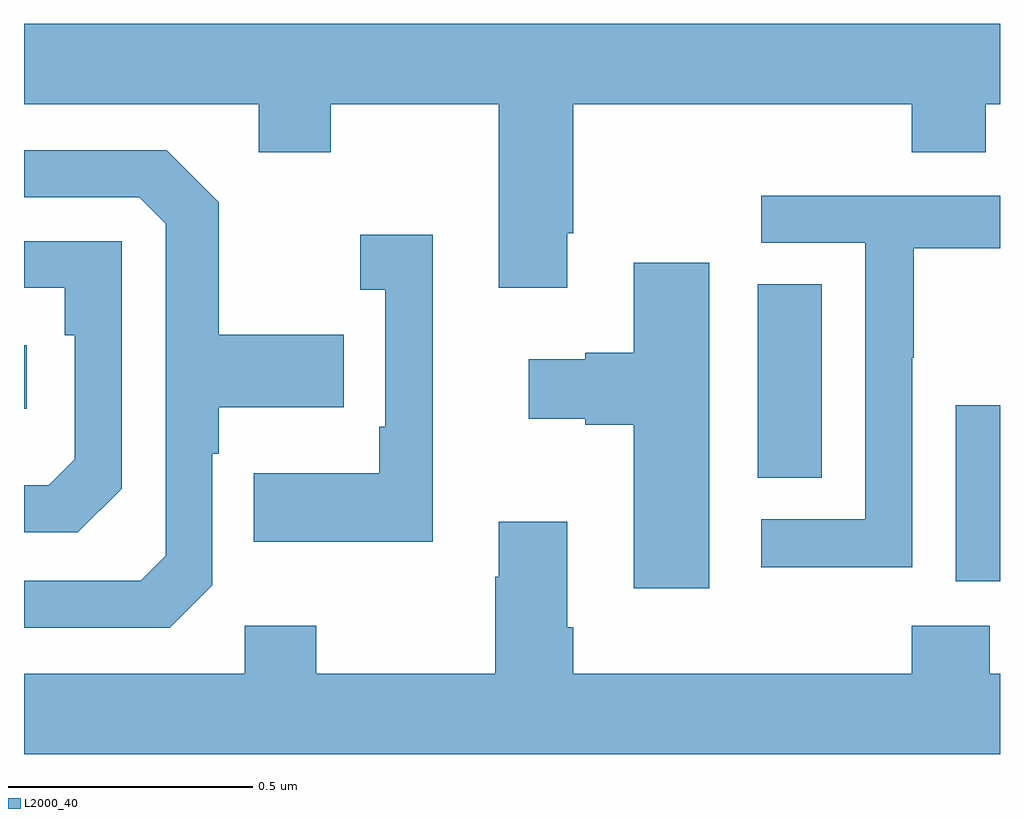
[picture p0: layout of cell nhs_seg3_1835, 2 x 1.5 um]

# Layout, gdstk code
import gdstk
lib = gdstk.Library(unit=1e-6, precision=1e-09)
def R(c, l, rs):  # rectangles x0, y0, x1, y1
    for r in rs: c.add(gdstk.rectangle(r[:2], r[2:], *l))
def P(c, l, *ps):  # polygons
    for p in ps: c.add(gdstk.Polygon(p, *l))
L2000_40 = (2000, 40)

nhs_seg3_1835 = lib.new_cell('nhs_seg3_1835')
R(nhs_seg3_1835, L2000_40, [(134.909,731.906,135,732.267), (134.504,732.118,134.635,732.515), (133,732.26,133.006,732.39)])
P(nhs_seg3_1835, L2000_40, [(134.113,732.619),(134.126,732.619),(134.126,732.884),(134.819,732.884),(134.819,732.785),(134.971,732.785),(134.971,732.884),(135,732.884),(135,733.048),(133,733.048),(133,732.884),(133.481,732.884),(133.481,732.785),(133.629,732.785),(133.629,732.884),(133.973,732.884),(133.973,732.507),(134.113,732.507)],
  [(133.386,731.898),(133.386,732.167),(133.399,732.167),(133.399,732.263),(133.655,732.263),(133.655,732.411),(133.399,732.411),(133.399,732.683),(133.293,732.789),(133,732.789),(133,732.693),(133.236,732.693),(133.29,732.639),(133.29,731.958),(133.239,731.907),(133,731.907),(133,731.811),(133.299,731.811)],
  [(134.82,732.364),(134.823,732.364),(134.823,732.588),(135,732.588),(135,732.696),(134.511,732.696),(134.511,732.6),(134.724,732.6),(134.724,732.033),(134.511,732.033),(134.511,731.935),(134.82,731.935)],
  [(133.838,732.616),(133.689,732.616),(133.689,732.503),(133.74,732.503),(133.74,732.223),(133.728,732.223),(133.728,732.127),(133.471,732.127),(133.471,731.987),(133.838,731.987)],
  [(133.2,732.096),(133.2,732.603),(133,732.603),(133,732.507),(133.084,732.507),(133.084,732.41),(133.104,732.41),(133.104,732.156),(133.051,732.103),(133,732.103),(133,732.006),(133.11,732.006)],
  [(134.404,732.559),(134.249,732.559),(134.249,732.374),(134.15,732.374),(134.15,732.361),(134.034,732.361),(134.034,732.239),(134.15,732.239),(134.15,732.227),(134.249,732.227),(134.249,731.892),(134.404,731.892)],
  [(135,731.716),(134.979,731.716),(134.979,731.815),(134.819,731.815),(134.819,731.716),(134.126,731.716),(134.126,731.812),(134.113,731.812),(134.113,732.028),(133.973,732.028),(133.973,731.915),(133.966,731.915),(133.966,731.716),(133.599,731.716),(133.599,731.815),(133.452,731.815),(133.452,731.716),(133,731.716),(133,731.552),(135,731.552)])

lib.write_gds('nhs_seg3_1835.gds')
